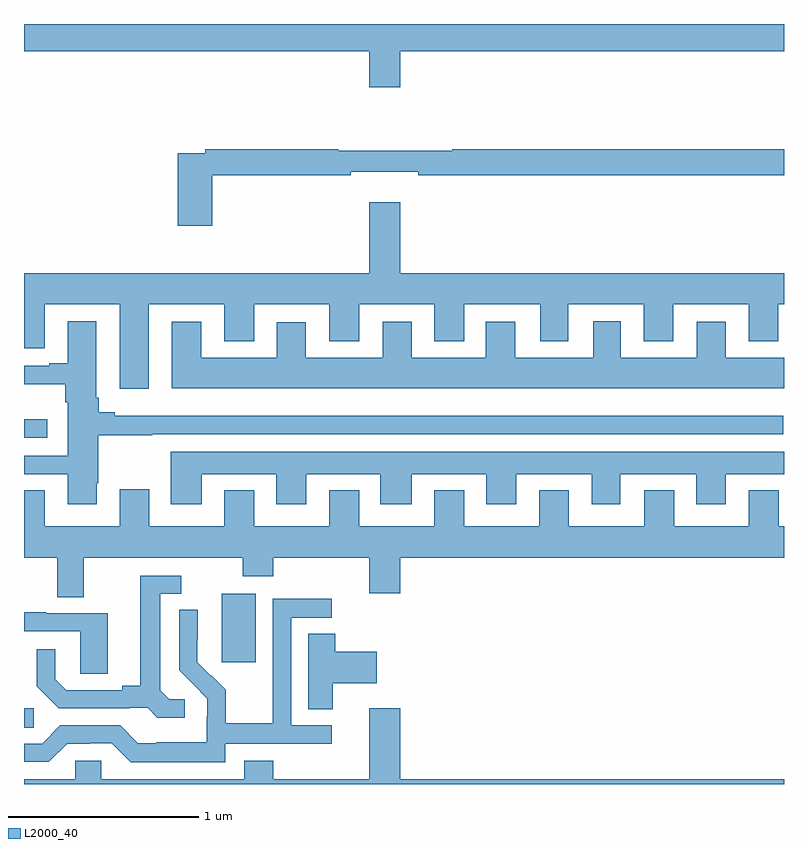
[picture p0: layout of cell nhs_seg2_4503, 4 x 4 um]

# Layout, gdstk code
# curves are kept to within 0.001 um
import gdstk
lib = gdstk.Library(unit=1e-6, precision=1e-09)
def R(c, l, rs):  # rectangles x0, y0, x1, y1
    for r in rs: c.add(gdstk.rectangle(r[:2], r[2:], *l))
def P(c, l, *ps):  # polygons
    for p in ps: c.add(gdstk.Polygon(p, *l))
L2000_40 = (2000, 40)

nhs_seg2_4503 = lib.new_cell('nhs_seg2_4503')
R(nhs_seg2_4503, L2000_40, [(355,624.097,355.051,624.198), (356.042,624.441,356.221,624.802), (355,625.623,355.123,625.721)])
P(nhs_seg2_4503, L2000_40, [(356.98,627.656),(359,627.656),(359,627.8),(355,627.8),(355,627.656),(356.816,627.656),(356.816,627.468),(356.98,627.468)],
  [(355.991,627.004),(356.72,627.004),(356.72,627.023),(357.076,627.023),(357.076,627.004),(359,627.004),(359,627.14),(357.254,627.14),(357.254,627.133),(356.654,627.133),(356.654,627.14),(355.954,627.14),(355.954,627.12),(355.808,627.12),(355.808,626.739),(355.991,626.739)],
  [(355.657,626.324),(356.054,626.324),(356.054,626.13),(356.212,626.13),(356.212,626.324),(356.606,626.324),(356.606,626.13),(356.764,626.13),(356.764,626.324),(357.158,626.324),(357.158,626.13),(357.316,626.13),(357.316,626.324),(357.716,626.324),(357.716,626.13),(357.865,626.13),(357.865,626.324),(358.262,626.324),(358.262,626.13),(358.417,626.13),(358.417,626.324),(358.814,626.324),(358.814,626.13),(358.969,626.13),(358.969,626.324),(359,626.324),(359,626.488),(356.98,626.488),(356.98,626.863),(356.816,626.863),(356.816,626.488),(355,626.488),(355,626.094),(355.108,626.094),(355.108,626.324),(355.505,626.324),(355.505,625.881),(355.657,625.881)],
  [(359,626.044),(358.693,626.044),(358.693,626.233),(358.541,626.233),(358.541,626.044),(358.141,626.044),(358.141,626.236),(357.995,626.236),(357.995,626.044),(357.586,626.044),(357.586,626.233),(357.431,626.233),(357.431,626.044),(357.04,626.044),(357.04,626.233),(356.888,626.233),(356.888,626.044),(356.482,626.044),(356.482,626.23),(356.33,626.23),(356.33,626.044),(355.933,626.044),(355.933,626.233),(355.778,626.233),(355.778,625.883),(359,625.883)],
  [(355.384,625.384),(355.392,625.384),(355.392,625.636),(355.676,625.636),(355.676,625.641),(358.996,625.641),(358.996,625.738),(355.477,625.738),(355.477,625.757),(355.394,625.757),(355.394,625.834),(355.381,625.834),(355.381,626.236),(355.229,626.236),(355.229,626.014),(355.133,626.014),(355.133,626.001),(355,626.001),(355,625.904),(355.217,625.904),(355.217,625.808),(355.229,625.808),(355.229,625.527),(355,625.527),(355,625.431),(355.229,625.431),(355.229,625.272),(355.384,625.272)],
  [(355.936,625.43),(356.327,625.43),(356.327,625.272),(356.485,625.272),(356.485,625.43),(356.876,625.43),(356.876,625.272),(357.04,625.272),(357.04,625.43),(357.434,625.43),(357.434,625.272),(357.592,625.272),(357.592,625.43),(357.989,625.43),(357.989,625.272),(358.138,625.272),(358.138,625.43),(358.538,625.43),(358.538,625.272),(358.693,625.272),(358.693,625.43),(359,625.43),(359,625.549),(355.772,625.549),(355.772,625.272),(355.936,625.272)],
  [(355.315,624.992),(356.152,624.992),(356.152,624.893),(356.312,624.893),(356.312,624.992),(356.816,624.992),(356.816,624.804),(356.98,624.804),(356.98,624.992),(359,624.992),(359,625.156),(358.972,625.156),(358.972,625.345),(358.814,625.345),(358.814,625.156),(358.423,625.156),(358.423,625.345),(358.265,625.345),(358.265,625.156),(357.868,625.156),(357.868,625.345),(357.713,625.345),(357.713,625.156),(357.316,625.156),(357.316,625.345),(357.158,625.345),(357.158,625.156),(356.764,625.156),(356.764,625.345),(356.606,625.345),(356.606,625.156),(356.212,625.156),(356.212,625.345),(356.054,625.345),(356.054,625.156),(355.66,625.156),(355.66,625.351),(355.505,625.351),(355.505,625.156),(355.108,625.156),(355.108,625.346),(355,625.346),(355,624.992),(355.175,624.992),(355.175,624.784),(355.315,624.784)],
  [(355.846,624.246),(355.764,624.246),(355.717,624.293),(355.717,624.801),(355.828,624.801),(355.828,624.897),(355.613,624.897),(355.613,624.317),(355.517,624.317),(355.517,624.294),(355.222,624.294),(355.165,624.351),(355.165,624.508),(355.068,624.508),(355.068,624.314),(355.184,624.198),(355.556,624.198),(355.556,624.201),(355.65,624.201),(355.702,624.149),(355.846,624.149)],
  [(356.058,624.012),(356.62,624.012),(356.62,624.108),(356.406,624.108),(356.406,624.675),(356.62,624.675),(356.62,624.774),(356.31,624.774),(356.31,624.344),(356.308,624.344),(356.308,624.121),(356.063,624.121),(356.063,624.295),(355.986,624.372),(355.983,624.369),(355.913,624.44),(355.914,624.716),(355.818,624.716),(355.818,624.398),(355.964,624.25),(355.964,624.153),(355.962,624.153),(355.962,624.019),(355.699,624.019),(355.699,624.015),(355.599,624.015),(355.506,624.108),(355.191,624.108),(355.095,624.012),(355,624.012),(355,623.916),(355.131,623.916),(355.227,624.012),(355.346,624.012),(355.346,624.015),(355.461,624.015),(355.561,623.915),(356.058,623.915)],
  [(355.441,624.699),(355.117,624.699),(355.117,624.703),(355,624.703),(355,624.603),(355.296,624.603),(355.296,624.379),(355.441,624.379)],
  [(356.626,624.329),(356.857,624.329),(356.857,624.495),(356.639,624.495),(356.639,624.59),(356.495,624.59),(356.495,624.193),(356.626,624.193)],
  [(359,623.824),(356.98,623.824),(356.98,624.199),(356.816,624.199),(356.816,623.824),(356.312,623.824),(356.312,623.923),(356.159,623.923),(356.159,623.824),(355.407,623.824),(355.407,623.922),(355.269,623.922),(355.269,623.824),(355,623.824),(355,623.8),(359,623.8)])

lib.write_gds('nhs_seg2_4503.gds')
